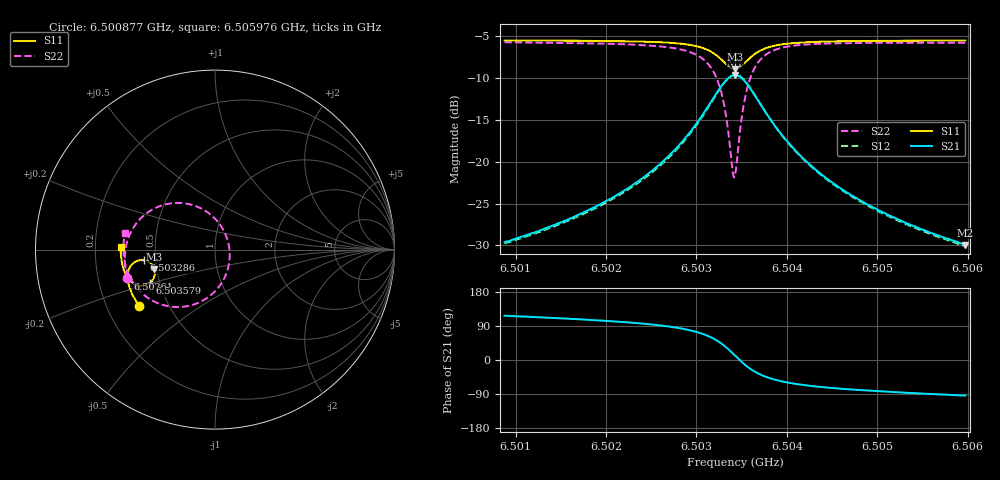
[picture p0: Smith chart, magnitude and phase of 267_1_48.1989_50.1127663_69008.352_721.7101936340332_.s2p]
#  HZ  S  RI  R  50.00
! Rohde & Schwarz Vector Network Analyzer
! Rohde-Schwarz,ZNB20-2Port,1311601062101988,3.16
! Created: UTC 3/20/2024, 11:48:00 AM
! freq[Hz]  re:S11  im:S11  re:S21  im:S21  re:S12  im:S12  re:S22  im:S22
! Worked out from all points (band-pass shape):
!   401 points, 6.500877 GHz to 6.505976 GHz, reference 50 ohm
!   highest |S21| = -9.71 dB at 6.503426 GHz (marker M1); lowest = -29.9 dB at 6.505976 GHz (marker M2)
!   |S21| within 3 dB of the highest: 6.503171 GHz to 6.503681 GHz (509.9 kHz wide, 0.00784 % of centre)
!   lowest |S11| = -9.0 dB at 6.503426 GHz (marker M3), VSWR 2.10, Z = 24.3 - j6.02 ohm
!   |S11| at or under -10 dB: nowhere
!   |S22| runs from -21.9 to -5.8 dB; largest |S21 - S12| = 0.011
!   S11 on the Smith chart (normalised r, x): 6.500877 GHz: 0.34, -0.30; 6.50261 GHz: 0.33, -0.15; 6.503286 GHz: 0.43, -0.06; 6.503579 GHz: 0.44, -0.20; 6.505976 GHz: 0.31, +0.01
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6.5008768e9  -0.4228 -0.3138  -0.015 0.0295  -0.0134 0.0296  -0.4877 -0.1609
6.5017309e9  -0.46 -0.2513  -0.0144 0.0471  -0.012 0.0466  -0.5022 -0.0712
6.502228e9  -0.4777 -0.2074  -0.0112 0.0676  -0.00824 0.0666  -0.4992 -0.000912
6.502585e9  -0.4862 -0.1682  -0.00262 0.0954  0.000915 0.0932  -0.4808 0.0701
6.5026105e9  -0.4865 -0.1649  -0.00155 0.0981  0.00209 0.0958  -0.4784 0.0763
6.5028527e9  -0.4852 -0.1293  0.0178 0.1321  0.0217 0.1282  -0.4376 0.1471
6.5030311e9  -0.4723 -0.0955  0.0551 0.1691  0.0582 0.1636  -0.3646 0.2138
6.5031841e9  -0.4389 -0.0651  0.1292 0.1993  0.1303 0.193  -0.2289 0.2592
6.5032861e9  -0.3962 -0.0585  0.2146 0.1901  0.2148 0.1849  -0.0803 0.2306
6.5033371e9  -0.3705 -0.0673  0.263 0.1618  0.2637 0.1573  2.48e-05 0.1725
6.5034008e9  -0.3441 -0.0939  0.3101 0.0981  0.3127 0.0931  0.0712 0.0498
6.5034263e9  -0.3379 -0.1084  0.3201 0.066  0.3233 0.06  0.0816 -0.00986
6.5034518e9  -0.3349 -0.124  0.3235 0.0326  0.327 0.0256  0.0794 -0.0709
6.5035156e9  -0.3422 -0.1609  0.3052 -0.0448  0.3072 -0.0549  0.0234 -0.2049
6.5035793e9  -0.3633 -0.1866  0.2625 -0.0984  0.2612 -0.1096  -0.0729 -0.2867
6.5036813e9  -0.4026 -0.2014  0.1883 -0.134  0.183 -0.1433  -0.2218 -0.3199
6.503847e9  -0.4483 -0.1916  0.1075 -0.131  0.1005 -0.1358  -0.3675 -0.2732
6.5040255e9  -0.4756 -0.1702  0.0632 -0.111  0.0572 -0.1132  -0.4387 -0.2088
6.5042804e9  -0.4963 -0.1403  0.0336 -0.0869  0.0289 -0.0873  -0.4819 -0.1368
6.5047011e9  -0.5128 -0.097  0.0136 -0.0621  0.0105 -0.0617  -0.505 -0.0562
6.5051345e9  -0.5211 -0.0572  0.00513 -0.0474  0.00279 -0.0468  -0.5101 0.00339
6.5059759e9  -0.5258 0.0137  -0.00204 -0.0318  -0.00335 -0.0311  -0.5019 0.0916
